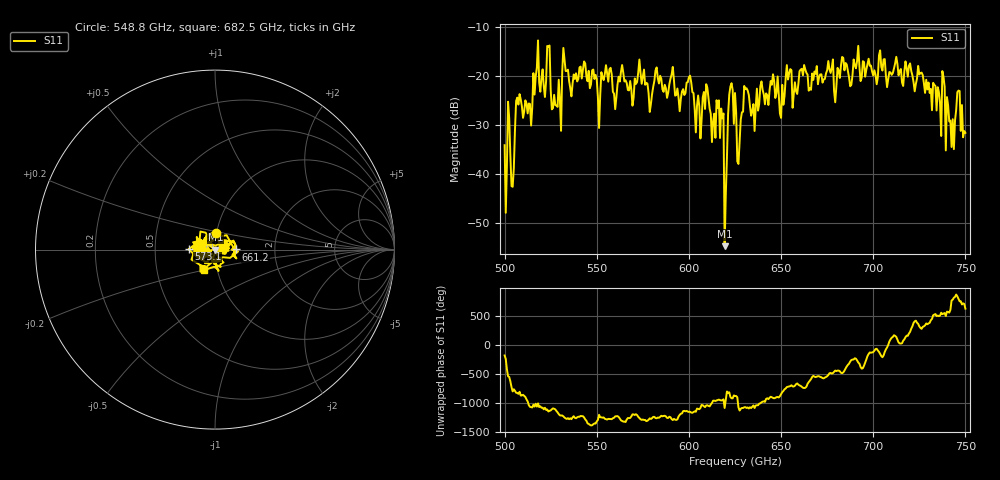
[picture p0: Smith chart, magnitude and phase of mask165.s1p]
!Created with skrf (http://scikit-rf.org).
# GHz S MA R 50.0
!freq magS11 angS11
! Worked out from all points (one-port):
!   401 points, 500 GHz to 750 GHz, reference 50 ohm
!   lowest |S11| = -54.8 dB at 619.4 GHz (marker M1), VSWR 1.00, Z = 50.2 - j0.0211 ohm
!   |S11| at or under -10 dB: start of sweep to end of sweep
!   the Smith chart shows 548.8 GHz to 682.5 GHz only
!   S11 on the Smith chart (normalised r, x): 548.8 GHz: 0.99, +0.19; 573.1 GHz: 0.74, +0.00; 661.2 GHz: 1.27, +0.00; 682.5 GHz: 0.86, -0.20
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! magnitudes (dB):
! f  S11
! 500 GHz  -34.2
! 504.4 GHz  -42.7
! 507.5 GHz  -25.9
! 513.8 GHz  -25.7
! 516.9 GHz  -20.1
! 523.8 GHz  -14.0
! 526.9 GHz  -23.9
! 531.2 GHz  -19.2
! 548.8 GHz  -20.6
! 562.5 GHz  -21.1
! 573.1 GHz  -16.6
! 593.8 GHz  -22.6
! 616.2 GHz  -25.0
! 619.4 GHz  -54.8
! 622.5 GHz  -22.2
! 625 GHz  -23.5
! 627.5 GHz  -33.6
! 631.2 GHz  -22.5
! 635 GHz  -25.8
! 656.2 GHz  -26.5
! 661.2 GHz  -18.5
! 682.5 GHz  -17.8
! 687.5 GHz  -22.1
! 718.8 GHz  -20.1
! 738.8 GHz  -22.2
! 742.5 GHz  -34.5
! 746.9 GHz  -23.1
! 750 GHz  -31.6
